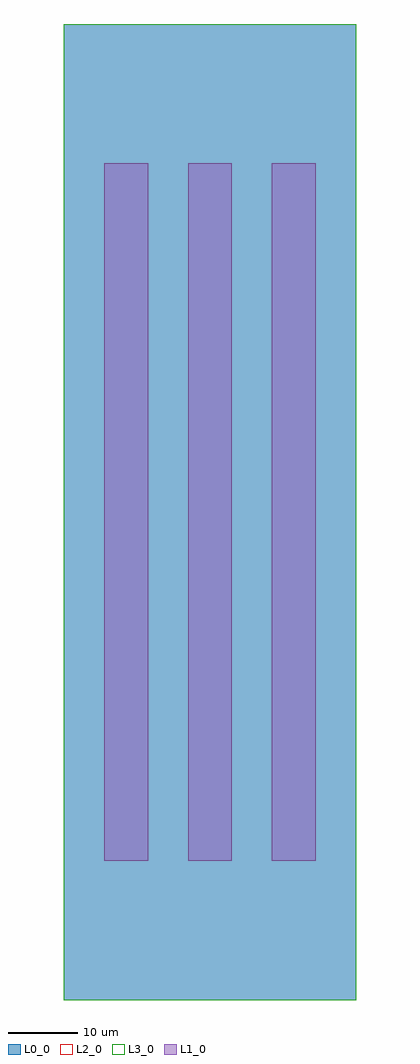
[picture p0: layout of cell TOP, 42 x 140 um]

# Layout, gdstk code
import gdstk
lib = gdstk.Library(unit=1e-6, precision=1e-09)
def R(c, l, rs):  # rectangles x0, y0, x1, y1
    for r in rs: c.add(gdstk.rectangle(r[:2], r[2:], *l))
def A(c, l, x, y, w, h, nx, ny, dx, dy):  # array of equal rectangles
    R(c, l, [(x+i*dx, y+j*dy, x+i*dx+w, y+j*dy+h) for i in range(nx) for j in range(ny)])
L0_0 = (0, 0)
L1_0 = (1, 0)
L2_0 = (2, 0)
L3_0 = (3, 0)

top = lib.new_cell('TOP')
A(top, L0_0, -15.15, -50, 6.3, 100, 3, 1, 12, 0)
R(top, L0_0, [(-21,-70,21,70)])
A(top, L1_0, -15.15, -50, 6.3, 100, 3, 1, 12, 0)
R(top, L2_0, [(-21,-70,21,70)])
R(top, L3_0, [(-21,-70,21,70)])

lib.write_gds('TOP.gds')
